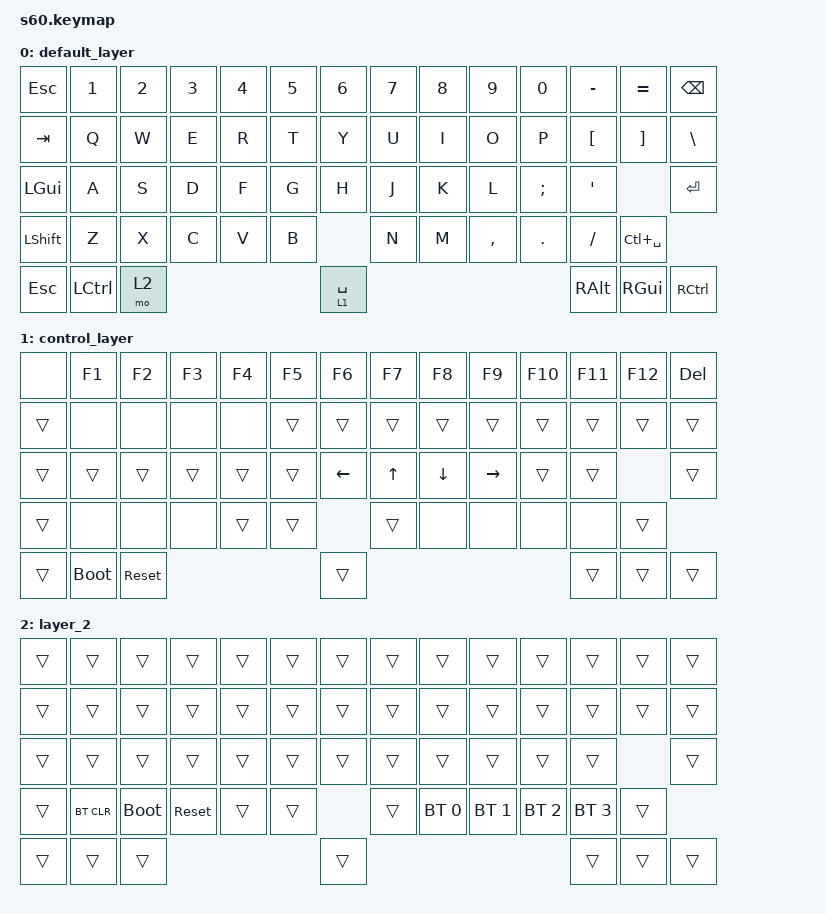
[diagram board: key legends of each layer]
/*
 * Copyright (c) 2023 LAZYDESIGNERS
 *
 * SPDX-License-Identifier: MIT
 */

#include <behaviors.dtsi>
#include <dt-bindings/zmk/keys.h>
#include <dt-bindings/zmk/bt.h>

/ {
    keymap {
        compatible = "zmk,keymap";

        default_layer {
            // ------------------------------------------------------------------------------------------
            // | ESC |  1  |  2  |  3  |  4  |  5  |  6  |  7  |  8  |  9  |  0  |  -  |  =  |   BKSP   |
            // | TAB  |  Q  |  W  |  E  |  R  |  T  |  Y  |  U  |  I  |  O  |  P  |  [  |  ]  |   "|"   |
            // | CAPS  |  A  |  S  |  D  |  F  |  G  |  H  |  J  |  K  |  L  |  ;  |  '  |     ENTER    |
            // |  SHIFT  |  Z  |  X  |  C  |  V  |  B  |  N  |  M  |  ,  |  .  |  /  |      SHIFT       |
            // |  CTL  |  WIN  |  ALT  |            SPACE                       |  MO(1) | WIN  |  CTL  |
            // ------------------------------------------------------------------------------------------

            bindings = <
  &kp ESC     &kp N1  &kp N2  &kp N3  &kp N4  &kp N5       &kp N6  &kp N7  &kp N8     &kp N9    &kp N0  &kp MINUS      &kp EQUAL   &kp BSPC
  &kp TAB      &kp Q   &kp W   &kp E   &kp R   &kp T        &kp Y   &kp U   &kp I      &kp O     &kp P   &kp LBKT       &kp RBKT   &kp BSLH
 &kp LGUI      &kp A   &kp S   &kp D   &kp F   &kp G        &kp H   &kp J   &kp K      &kp L  &kp SEMI    &kp SQT                   &kp RET
&kp LSHFT              &kp Z   &kp X   &kp C   &kp V        &kp B   &kp N   &kp M  &kp COMMA   &kp DOT   &kp FSLH  &kp LC(SPACE)
  &kp ESC  &kp LCTRL   &mo 2                          &lt 1 SPACE                                        &kp RALT       &kp RGUI  &kp RCTRL
            >;
        };

        control_layer {
            // ------------------------------------------------------------------------------------------------
            // | BT CLR | F1  | F2  | F3  | F4  | F5  | F6  | F7  | F8  | F9  | F10  | F11 | F12 |            |
            // |  BT 1   |   |  UP |      |      |      |      |      |    |     |    |     |     |           |
            // |   BT 2   | LT |  DN  | RT |       |       |      |     |    |    |     |     |               |
            // |    BT 3     |     |      |      |     |     |     |     |     |     |     |                  |
            // |   BT 4  |      |      |                                              |       |       |  DEL  |
            // ------------------------------------------------------------------------------------------------

            bindings = <
 &none       &kp F1      &kp F2  &kp F3  &kp F4  &kp F5    &kp F6  &kp F7    &kp F8     &kp F9  &kp F10  &kp F11  &kp F12  &kp DEL
&trans        &none       &none   &none   &none  &trans    &trans  &trans    &trans     &trans   &trans   &trans   &trans   &trans
&trans       &trans      &trans  &trans  &trans  &trans  &kp LEFT  &kp UP  &kp DOWN  &kp RIGHT   &trans   &trans            &trans
&trans                    &none   &none   &none  &trans    &trans  &trans     &none      &none    &none    &none   &trans
&trans  &bootloader  &sys_reset                            &trans                                         &trans   &trans   &trans
            >;
        };

        layer_2 {
            bindings = <
&trans  &trans      &trans       &trans      &trans  &trans  &trans  &trans        &trans        &trans        &trans        &trans  &trans  &trans
&trans  &trans      &trans       &trans      &trans  &trans  &trans  &trans        &trans        &trans        &trans        &trans  &trans  &trans
&trans  &trans      &trans       &trans      &trans  &trans  &trans  &trans        &trans        &trans        &trans        &trans          &trans
&trans          &bt BT_CLR  &bootloader  &sys_reset  &trans  &trans  &trans  &bt BT_SEL 0  &bt BT_SEL 1  &bt BT_SEL 2  &bt BT_SEL 3  &trans
&trans  &trans      &trans                                   &trans                                                          &trans  &trans  &trans
            >;
        };
    };
};
